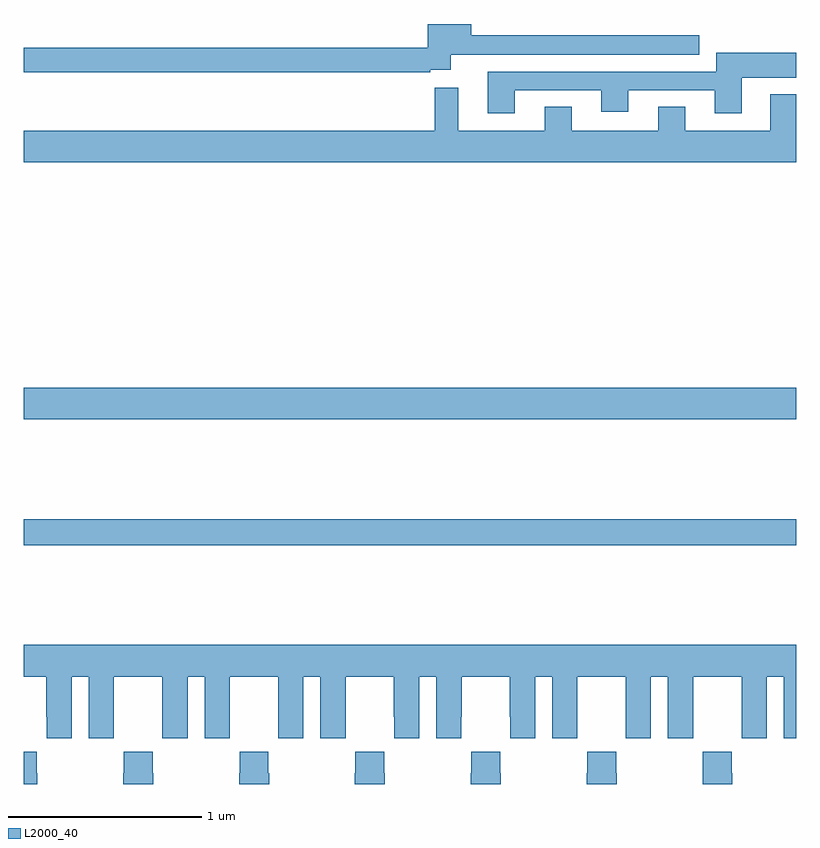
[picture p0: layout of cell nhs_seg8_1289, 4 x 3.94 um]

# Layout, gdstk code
import gdstk
lib = gdstk.Library(unit=1e-6, precision=1e-09)
def R(c, l, rs):  # rectangles x0, y0, x1, y1
    for r in rs: c.add(gdstk.rectangle(r[:2], r[2:], *l))
def P(c, l, *ps):  # polygons
    for p in ps: c.add(gdstk.Polygon(p, *l))
L2000_40 = (2000, 40)

nhs_seg8_1289 = lib.new_cell('nhs_seg8_1289')
R(nhs_seg8_1289, L2000_40, [(191,1161.136,195,1161.272), (191,1161.788,195,1161.952)])
P(nhs_seg8_1289, L2000_40, [(193.106,1163.598),(193.211,1163.598),(193.211,1163.678),(194.497,1163.678),(194.497,1163.779),(193.318,1163.779),(193.318,1163.836),(193.093,1163.836),(193.093,1163.714),(191,1163.714),(191,1163.586),(193.106,1163.586)],
  [(193.543,1163.493),(193.991,1163.493),(193.991,1163.381),(194.131,1163.381),(194.131,1163.493),(194.579,1163.493),(194.579,1163.373),(194.719,1163.373),(194.719,1163.558),(195,1163.558),(195,1163.686),(194.585,1163.686),(194.585,1163.589),(193.403,1163.589),(193.403,1163.373),(193.543,1163.373)],
  [(195,1163.473),(194.867,1163.473),(194.867,1163.284),(194.425,1163.284),(194.425,1163.408),(194.285,1163.408),(194.285,1163.284),(193.837,1163.284),(193.837,1163.408),(193.697,1163.408),(193.697,1163.284),(193.249,1163.284),(193.249,1163.506),(193.128,1163.506),(193.128,1163.284),(191,1163.284),(191,1163.12),(195,1163.12)],
  [(191.248,1160.456),(191.336,1160.456),(191.336,1160.136),(191.466,1160.136),(191.466,1160.248),(191.467,1160.248),(191.467,1160.456),(191.717,1160.456),(191.717,1160.248),(191.718,1160.248),(191.718,1160.136),(191.848,1160.136),(191.848,1160.456),(191.936,1160.456),(191.936,1160.136),(192.066,1160.136),(192.066,1160.248),(192.067,1160.248),(192.067,1160.456),(192.317,1160.456),(192.317,1160.248),(192.318,1160.248),(192.318,1160.136),(192.448,1160.136),(192.448,1160.456),(192.536,1160.456),(192.536,1160.136),(192.666,1160.136),(192.666,1160.248),(192.667,1160.248),(192.667,1160.456),(192.917,1160.456),(192.917,1160.248),(192.918,1160.248),(192.918,1160.136),(193.048,1160.136),(193.048,1160.456),(193.136,1160.456),(193.136,1160.136),(193.266,1160.136),(193.266,1160.248),(193.267,1160.248),(193.267,1160.456),(193.517,1160.456),(193.517,1160.248),(193.518,1160.248),(193.518,1160.136),(193.648,1160.136),(193.648,1160.456),(193.736,1160.456),(193.736,1160.136),(193.866,1160.136),(193.866,1160.248),(193.867,1160.248),(193.867,1160.456),(194.117,1160.456),(194.117,1160.248),(194.118,1160.248),(194.118,1160.136),(194.248,1160.136),(194.248,1160.456),(194.336,1160.456),(194.336,1160.136),(194.466,1160.136),(194.466,1160.248),(194.467,1160.248),(194.467,1160.456),(194.717,1160.456),(194.717,1160.248),(194.718,1160.248),(194.718,1160.136),(194.848,1160.136),(194.848,1160.456),(194.936,1160.456),(194.936,1160.136),(195,1160.136),(195,1160.62),(191,1160.62),(191,1160.456),(191.117,1160.456),(191.117,1160.248),(191.118,1160.248),(191.118,1160.136),(191.248,1160.136)],
  [(194.67,1159.955),(194.667,1159.955),(194.667,1160.068),(194.517,1160.068),(194.517,1159.955),(194.515,1159.955),(194.515,1159.9),(194.67,1159.9)],
  [(194.07,1159.955),(194.067,1159.955),(194.067,1160.068),(193.917,1160.068),(193.917,1159.955),(193.915,1159.955),(193.915,1159.9),(194.07,1159.9)],
  [(193.47,1159.955),(193.467,1159.955),(193.467,1160.068),(193.317,1160.068),(193.317,1159.955),(193.315,1159.955),(193.315,1159.9),(193.47,1159.9)],
  [(192.87,1159.955),(192.867,1159.955),(192.867,1160.068),(192.717,1160.068),(192.717,1159.955),(192.715,1159.955),(192.715,1159.9),(192.87,1159.9)],
  [(192.27,1159.955),(192.267,1159.955),(192.267,1160.068),(192.117,1160.068),(192.117,1159.955),(192.115,1159.955),(192.115,1159.9),(192.27,1159.9)],
  [(191.67,1159.955),(191.667,1159.955),(191.667,1160.068),(191.517,1160.068),(191.517,1159.955),(191.515,1159.955),(191.515,1159.9),(191.67,1159.9)],
  [(191.07,1159.955),(191.067,1159.955),(191.067,1160.068),(191,1160.068),(191,1159.9),(191.07,1159.9)])

lib.write_gds('nhs_seg8_1289.gds')
